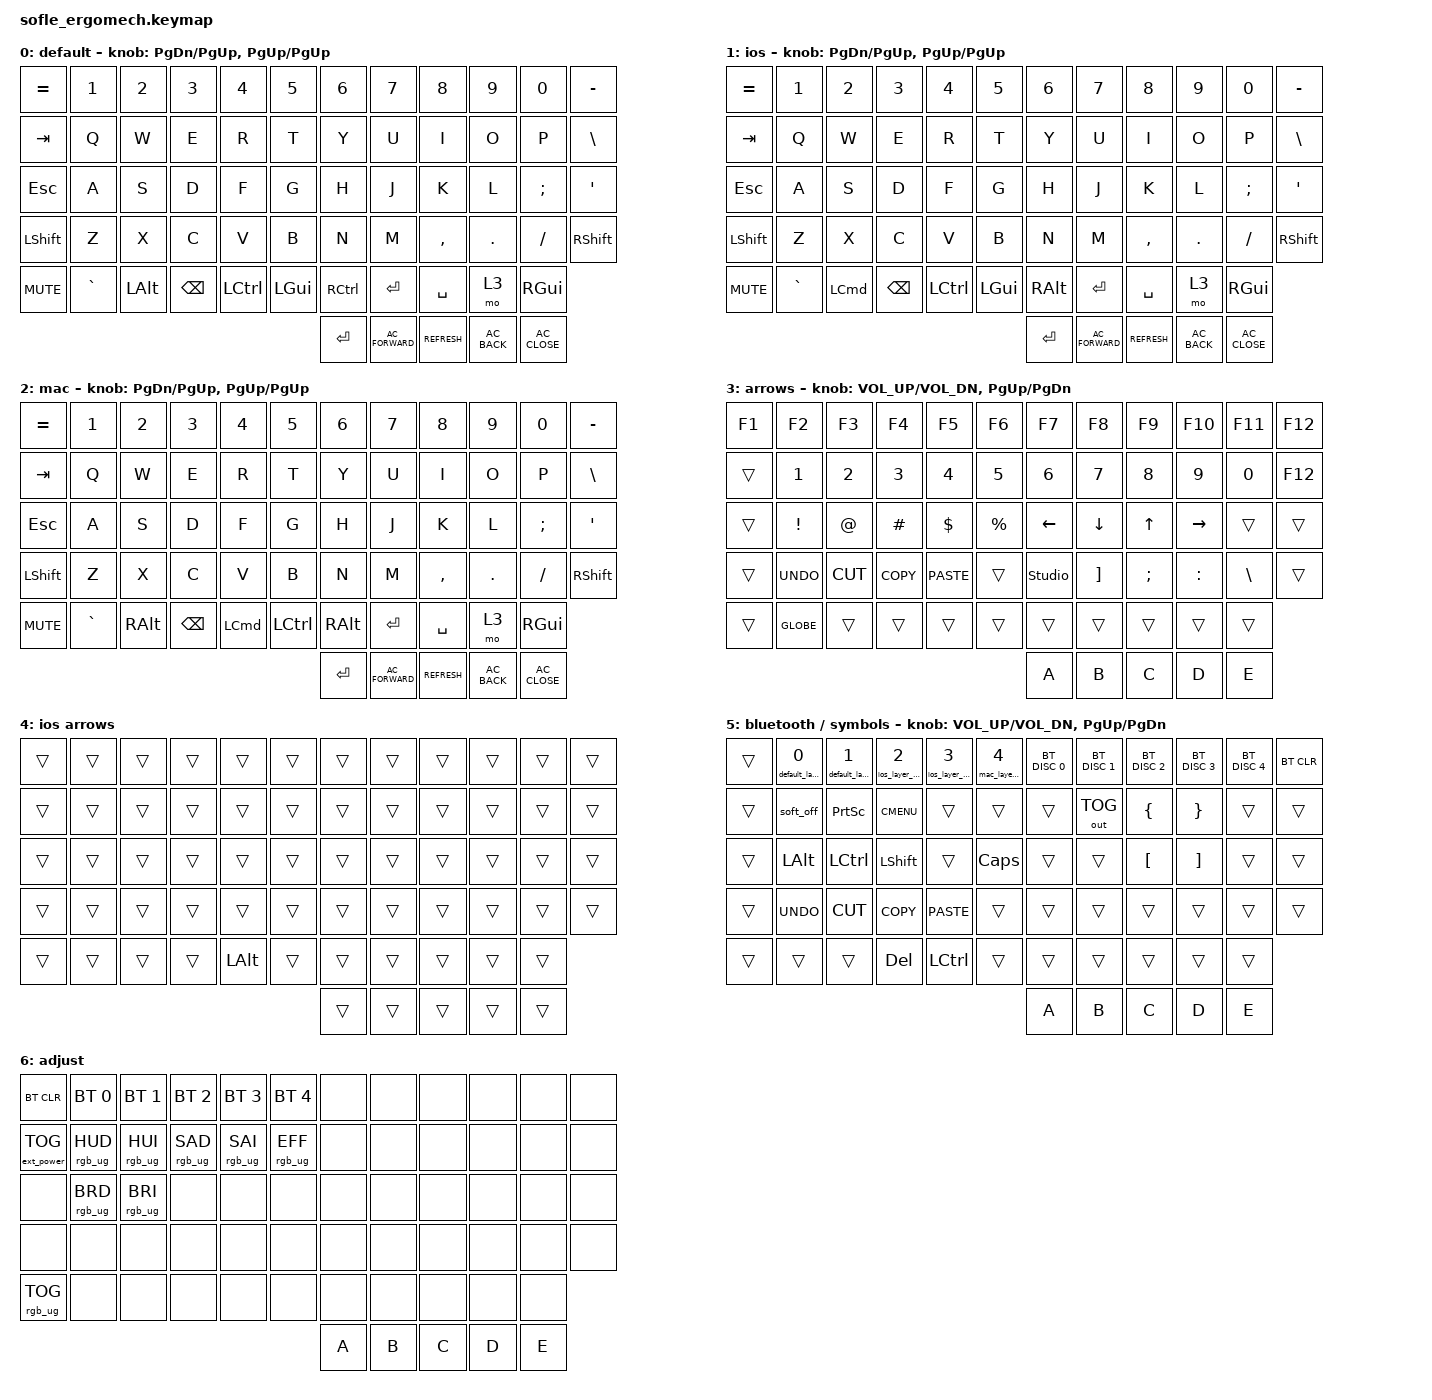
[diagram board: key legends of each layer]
/*
 * Copyright (c) 2020 The ZMK Contributors
 *
 * SPDX-License-Identifier: MIT
 */

#include <behaviors.dtsi>
#include <dt-bindings/zmk/bt.h>
#include <dt-bindings/zmk/ext_power.h>
#include <dt-bindings/zmk/keys.h>
#include <dt-bindings/zmk/outputs.h>
#include <dt-bindings/zmk/rgb.h>

#define DEFAULT_LAYER 0
#define IOS_LAYER 1
#define ARROWS_LAYER 2
#define BLUETOOTH_SYMBOL_LAYER 3

/ {
    // Activate ADJUST layer by pressing raise and lower

    conditional_layers {
        compatible = "zmk,conditional-layers";

        ios_arrow_layer {
            if-layers = <1 3>;
            then-layer = <4>;
        };
    };

    combos {
        compatible = "zmk,combos";

        combo_bluetooth_symbols_layer_left {
            bindings = <&mo 5>;
            key-positions = <29 27>;
            layers = <0 1 2>;
        };

        // TODO: do I need this anymore? Now there is an IOS layer?

        combo_right_alt {
            bindings = <&kp RIGHT_ALT>;
            key-positions = <18 20>;
        };

        combo_bluetooth_symbols_layer_right {
            bindings = <&mo 5>;
            key-positions = <30 32>;
            layers = <0 1 2>;
        };

        combo_caps_word {
            bindings = <&caps_word>;
            key-positions = <36 47>;
            layers = <0 1>;
        };
    };

    macros {
        ios_layer_toggle: ios_layer_toggle {
            compatible = "zmk,behavior-macro-one-param";
            wait-ms = <0>;
            tap-ms = <0>;
            #binding-cells = <1>;
            bindings =
                <&macro_param_1to2>,
                <&macro_tap>,
                <&bt BT_SEL MACRO_PLACEHOLDER>,
                <&macro_tap>,
                <&to 1>;
        };

        default_layer_toggle: default_layer_toggle {
            compatible = "zmk,behavior-macro-one-param";
            wait-ms = <0>;
            tap-ms = <0>;
            #binding-cells = <1>;
            bindings =
                <&macro_param_1to2>,
                <&macro_tap>,
                <&bt BT_SEL MACRO_PLACEHOLDER>,
                <&macro_tap>,
                <&to 0>;
        };

        mac_layer_toggle: mac_layer_toggle {
            compatible = "zmk,behavior-macro-one-param";
            wait-ms = <0>;
            tap-ms = <0>;
            #binding-cells = <1>;
            bindings =
                <&macro_param_1to2>,
                <&macro_tap>,
                <&bt BT_SEL MACRO_PLACEHOLDER>,
                <&macro_tap>,
                <&to 2>;

            label = "MAC_LAYER_TOGGLE";
        };
    };

    behaviors {
        new_behavior: new_behavior {
            compatible = "zmk,behavior-caps-word";
            label = "NEW_BEHAVIOR";
            #binding-cells = <0>;
            continue-list = <UNDERSCORE>;
        };
    };

    keymap {
        compatible = "zmk,keymap";

        default_layer {
            label = "default";

            // ------------------------------------------------------------------------------------------------------------
            // |   `   |  1  |  2  |  3   |  4   |  5   |                   |  6   |  7    |  8    |  9   |   0   |       |
            // |  ESC  |  Q  |  W  |  E   |  R   |  T   |                   |  Y   |  U    |  I    |  O   |   P   | BKSPC |
            // |  TAB  |  A  |  S  |  D   |  F   |  G   |                   |  H   |  J    |  K    |  L   |   ;   |   '   |
            // | SHIFT |  Z  |  X  |  C   |  V   |  B   |  MUTE  |  |       |  N   |  M    |  ,    |  .   |   /   | SHIFT |
            //               | GUI | ALT  | CTRL | LOWER|  ENTER |  | SPACE | RAISE| CTRL  | ALT   | GUI  |

            bindings = <
&kp EQUAL   &kp N1     &kp N2    &kp N3         &kp N4            &kp N5        &kp N6             &kp N7            &kp N8         &kp N9         &kp N0          &kp MINUS
&kp TAB     &kp Q      &kp W     &kp E          &kp R             &kp T         &kp Y              &kp U             &kp I          &kp O          &kp P           &kp BACKSLASH
&kp ESCAPE  &kp A      &kp S     &kp D          &kp F             &kp G         &kp H              &kp J             &kp K          &kp L          &kp SEMI        &kp SQT
&kp LSHFT   &kp Z      &kp X     &kp C          &kp V             &kp B         &kp N              &kp M             &kp COMMA      &kp DOT        &kp FSLH        &kp RSHFT
&kp C_MUTE  &kp GRAVE  &kp LALT  &kp BACKSPACE  &kp LEFT_CONTROL  &kp LEFT_GUI  &kp RIGHT_CONTROL  &kp ENTER         &kp SPACE      &mo 3          &kp RGUI
                                                                                &kp ENTER          &kp C_AC_FORWARD  &kp K_REFRESH  &kp C_AC_BACK  &kp C_AC_CLOSE
            >;

            sensor-bindings =
                <&inc_dec_kp PAGE_DOWN PAGE_UP>,
                <&inc_dec_kp PG_UP PG_UP>;
        };

        ios_layer {
            label = "ios";
            bindings = <
&kp EQUAL   &kp N1     &kp N2            &kp N3         &kp N4            &kp N5        &kp N6         &kp N7            &kp N8         &kp N9         &kp N0          &kp MINUS
&kp TAB     &kp Q      &kp W             &kp E          &kp R             &kp T         &kp Y          &kp U             &kp I          &kp O          &kp P           &kp BACKSLASH
&kp ESCAPE  &kp A      &kp S             &kp D          &kp F             &kp G         &kp H          &kp J             &kp K          &kp L          &kp SEMI        &kp SQT
&kp LSHFT   &kp Z      &kp X             &kp C          &kp V             &kp B         &kp N          &kp M             &kp COMMA      &kp DOT        &kp FSLH        &kp RSHFT
&kp C_MUTE  &kp GRAVE  &kp LEFT_COMMAND  &kp BACKSPACE  &kp LEFT_CONTROL  &kp LEFT_GUI  &kp RIGHT_ALT  &kp ENTER         &kp SPACE      &mo 3          &kp RGUI
                                                                                        &kp ENTER      &kp C_AC_FORWARD  &kp K_REFRESH  &kp C_AC_BACK  &kp C_AC_CLOSE
            >;

            sensor-bindings =
                <&inc_dec_kp PAGE_DOWN PAGE_UP>,
                <&inc_dec_kp PG_UP PG_UP>;
        };

        Mac_layer {
            label = "mac";
            bindings = <
&kp EQUAL   &kp N1     &kp N2         &kp N3         &kp N4            &kp N5            &kp N6         &kp N7            &kp N8         &kp N9         &kp N0          &kp MINUS
&kp TAB     &kp Q      &kp W          &kp E          &kp R             &kp T             &kp Y          &kp U             &kp I          &kp O          &kp P           &kp BACKSLASH
&kp ESCAPE  &kp A      &kp S          &kp D          &kp F             &kp G             &kp H          &kp J             &kp K          &kp L          &kp SEMI        &kp SQT
&kp LSHFT   &kp Z      &kp X          &kp C          &kp V             &kp B             &kp N          &kp M             &kp COMMA      &kp DOT        &kp FSLH        &kp RSHFT
&kp C_MUTE  &kp GRAVE  &kp RIGHT_ALT  &kp BACKSPACE  &kp LEFT_COMMAND  &kp LEFT_CONTROL  &kp RIGHT_ALT  &kp ENTER         &kp SPACE      &mo 3          &kp RGUI
                                                                                         &kp ENTER      &kp C_AC_FORWARD  &kp K_REFRESH  &kp C_AC_BACK  &kp C_AC_CLOSE
            >;

            sensor-bindings =
                <&inc_dec_kp PAGE_DOWN PAGE_UP>,
                <&inc_dec_kp PG_UP PG_UP>;
        };

        arrows_layer {
            label = "arrows";

            // TODO: Some binds are waiting for shifted keycode support.
            // ------------------------------------------------------------------------------------------------------------
            // |       |  F1 |  F2 |  F3  |  F4  |  F5  |                   |  F6  |  F7   |  F8   |  F9  |  F10  |  F11  |
            // |   `   |  1  |  2  |  3   |  4   |  5   |                   |  6   |  7    |  8    |  9   |   0   |  F12  |
            // |       |  !  |  @  |  #   |  $   |  %   |                   |  ^   |  &    |  *    |  (   |   )   |   |   |
            // |       |  =  |  -  |  +   |  {   |  }   |        |  |       |  [   |  ]    |  ;    |  :   |   \   |       |
            //               |     |      |      |      |        |  |       |      |       |       |      |

            bindings = <
&kp F1  &kp F2      &kp F3     &kp F4      &kp F5       &kp F6     &kp F7          &kp F8    &kp F9        &kp F10    &kp F11   &kp F12
&trans  &kp N1      &kp N2     &kp N3      &kp N4       &kp N5     &kp N6          &kp N7    &kp N8        &kp N9     &kp N0    &kp F12
&trans  &kp EXCL    &kp AT     &kp HASH    &kp DLLR     &kp PRCNT  &kp LEFT        &kp DOWN  &kp UP_ARROW  &kp RIGHT  &trans    &trans
&trans  &kp K_UNDO  &kp K_CUT  &kp K_COPY  &kp K_PASTE  &trans     &studio_unlock  &kp RBKT  &kp SEMI      &kp COLON  &kp BSLH  &trans
&trans  &kp GLOBE   &trans     &trans      &trans       &trans     &trans          &trans    &trans        &trans     &trans
                                                                   &kp A           &kp B     &kp C         &kp D      &kp E
            >;

            sensor-bindings = <&inc_dec_kp C_VOL_UP C_VOL_DN &inc_dec_kp PG_UP PG_DN>;
        };

        ios_arrows_layer {
            label = "ios arrows";
            bindings = <
&trans  &trans  &trans  &trans  &trans        &trans  &trans  &trans  &trans  &trans  &trans  &trans
&trans  &trans  &trans  &trans  &trans        &trans  &trans  &trans  &trans  &trans  &trans  &trans
&trans  &trans  &trans  &trans  &trans        &trans  &trans  &trans  &trans  &trans  &trans  &trans
&trans  &trans  &trans  &trans  &trans        &trans  &trans  &trans  &trans  &trans  &trans  &trans
&trans  &trans  &trans  &trans  &kp LEFT_ALT  &trans  &trans  &trans  &trans  &trans  &trans
                                                      &trans  &trans  &trans  &trans  &trans
            >;
        };

        bluetooth_symbol_layer {
            label = "bluetooth / symbols";

            // ------------------------------------------------------------------------------------------------------------
            // | BTCLR | BT1  | BT2  |  BT3  |  BT4  |  BT5 |                |      |      |       |      |       |       |
            // |       | INS  | PSCR | GUI   |       |      |                | PGUP |      |   ^   |      |       |       |
            // |       | ALT  | CTRL | SHIFT |       | CAPS |                | PGDN |   <- |   v   |  ->  |  DEL  | BKSPC |
            // |       | UNDO | CUT  | COPY  | PASTE |      |      |  |      |      |      |       |      |       |       |
            //                |      |       |       |      |      |  |      |      |      |       |      |

            bindings = <
&trans  &default_layer_toggle 0  &default_layer_toggle 1  &ios_layer_toggle 2  &ios_layer_toggle 3  &mac_layer_toggle 4  &bt BT_DISC 0  &bt BT_DISC 1  &bt BT_DISC 2   &bt BT_DISC 3    &bt BT_DISC 4  &bt BT_CLR
&trans  &soft_off                &kp PSCRN                &kp K_CMENU          &trans               &trans               &trans         &out OUT_TOG   &kp LEFT_BRACE  &kp RIGHT_BRACE  &trans         &trans
&trans  &kp LALT                 &kp LCTRL                &kp LSHFT            &trans               &kp CLCK             &trans         &trans         &kp LBKT        &kp RBKT         &trans         &trans
&trans  &kp K_UNDO               &kp K_CUT                &kp K_COPY           &kp K_PASTE          &trans               &trans         &trans         &trans          &trans           &trans         &trans
&trans  &trans                   &trans                   &kp DELETE           &kp LEFT_CONTROL     &trans               &trans         &trans         &trans          &trans           &trans
                                                                                                                         &kp A          &kp B          &kp C           &kp D            &kp E
            >;

            sensor-bindings = <&inc_dec_kp C_VOL_UP C_VOL_DN &inc_dec_kp PG_UP PG_DN>;
        };

        adjust_layer {
            // ----------------------------------------------------------------------------------------------------------------------------
            // | BTCLR  |  BT1    |  BT2    |   BT3   |   BT4   |   BT5   |                  |      |      |       |      |       |       |
            // | EXTPWR | RGB_HUD | RGB_HUI | RGB_SAD | RGB_SAI | RGB_EFF |                  |      |      |       |      |       |       |
            // |        | RGB_BRD | RGB_BRI |         |         |         |                  |      |      |       |      |       |       |
            // |        |         |         |         |         |         | RGB_TOG | |      |      |      |       |      |       |       |
            //                    |         |         |         |         |         | |      |      |      |       |      |

            label = "adjust";
            bindings = <
&bt BT_CLR         &bt BT_SEL 0     &bt BT_SEL 1     &bt BT_SEL 2     &bt BT_SEL 3     &bt BT_SEL 4     &none  &none  &none  &none  &none  &none
&ext_power EP_TOG  &rgb_ug RGB_HUD  &rgb_ug RGB_HUI  &rgb_ug RGB_SAD  &rgb_ug RGB_SAI  &rgb_ug RGB_EFF  &none  &none  &none  &none  &none  &none
&none              &rgb_ug RGB_BRD  &rgb_ug RGB_BRI  &none            &none            &none            &none  &none  &none  &none  &none  &none
&none              &none            &none            &none            &none            &none            &none  &none  &none  &none  &none  &none
&rgb_ug RGB_TOG    &none            &none            &none            &none            &none            &none  &none  &none  &none  &none
                                                                                                        &kp A  &kp B  &kp C  &kp D  &kp E
            >;
        };
    };
};
